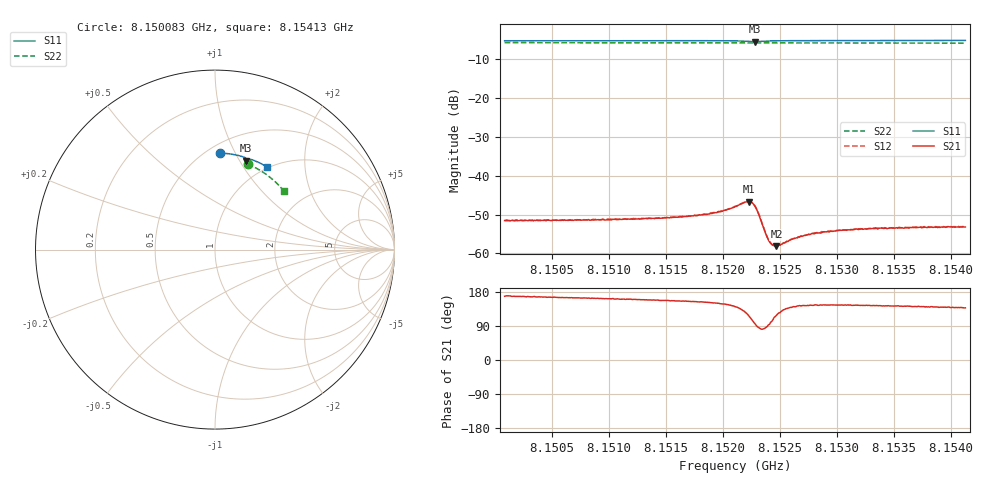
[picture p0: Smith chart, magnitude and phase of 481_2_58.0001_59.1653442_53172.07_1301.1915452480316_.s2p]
#  HZ  S  RI  R  50.00
! Rohde & Schwarz Vector Network Analyzer
! Rohde-Schwarz,ZNB20-2Port,1311601062101988,3.16
! Created: UTC 3/21/2024, 1:11:52 AM
! freq[Hz]  re:S11  im:S11  re:S21  im:S21  re:S12  im:S12  re:S22  im:S22
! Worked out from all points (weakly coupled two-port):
!   401 points, 8.150083 GHz to 8.15413 GHz, reference 50 ohm
!   highest |S21| = -46.66 dB at 8.152228 GHz (marker M1); lowest = -58.1 dB at 8.152471 GHz (marker M2)
!   lowest |S11| = -5.6 dB at 8.152279 GHz (marker M3), VSWR 3.21, Z = 38.9 + j53.3 ohm
!   |S11| at or under -10 dB: nowhere
!   |S22| runs from -6.0 to -5.9 dB; largest |S21 - S12| = 0.00012
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8.1500834e9  0.0291 0.5374  -0.00259 0.000539  -0.00262 0.00056  0.1816 0.4763
8.1507612e9  0.0764 0.534  -0.00257 0.000763  -0.00256 0.000782  0.2212 0.4582
8.151439e9  0.1235 0.5262  -0.00263 0.00109  -0.00265 0.00112  0.2588 0.4369
8.1517122e9  0.1426 0.5213  -0.00274 0.00129  -0.00273 0.00132  0.2735 0.4274
8.1518639e9  0.1534 0.5181  -0.00282 0.00148  -0.00285 0.00157  0.2815 0.4217
8.1520157e9  0.1649 0.5138  -0.00303 0.00191  -0.00301 0.00197  0.2893 0.416
8.1521067e9  0.1721 0.5097  -0.00309 0.00251  -0.00311 0.00256  0.294 0.4125
8.1521978e9  0.1773 0.5018  -0.00269 0.0037  -0.00264 0.00381  0.2984 0.4089
8.1522281e9  0.1769 0.4985  -0.00208 0.00415  -0.00206 0.0042  0.2998 0.4077
8.1522585e9  0.1747 0.4963  -0.00113 0.00431  -0.00111 0.00435  0.3012 0.4063
8.1522787e9  0.1727 0.4961  -0.000487 0.00409  -0.000426 0.00412  0.3021 0.4057
8.152309e9  0.1706 0.4983  0.000195 0.00334  0.000268 0.00339  0.3035 0.4046
8.1523697e9  0.1731 0.5041  0.000199 0.00191  0.000208 0.00192  0.3064 0.4025
8.1524001e9  0.1759 0.5055  -6.7e-05 0.00149  -2.46e-05 0.00152  0.3081 0.4015
8.1524304e9  0.1791 0.5064  -0.000274 0.00128  -0.000281 0.00127  0.3097 0.4002
8.1524709e9  0.1828 0.5066  -0.000579 0.0011  -0.000547 0.00114  0.3119 0.3987
8.1525013e9  0.1855 0.5063  -0.000727 0.00105  -0.000745 0.00105  0.3133 0.3974
8.1526227e9  0.1955 0.5042  -0.00121 0.000974  -0.00119 0.00101  0.3192 0.3925
8.1527845e9  0.2072 0.5006  -0.00147 0.00106  -0.00146 0.00103  0.327 0.3858
8.1530273e9  0.2237 0.4941  -0.00163 0.00113  -0.00163 0.00118  0.3384 0.3753
8.1534623e9  0.2516 0.4816  -0.00168 0.00128  -0.00169 0.00131  0.3577 0.3557
8.15413e9  0.2923 0.4593  -0.00162 0.00147  -0.00162 0.00149  0.3852 0.3243
